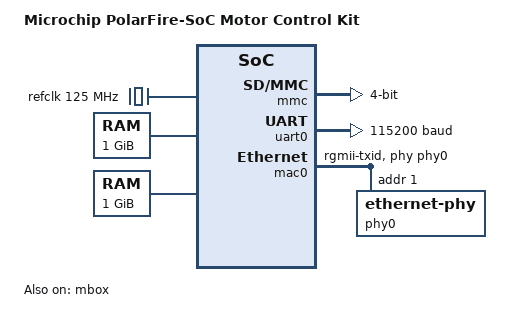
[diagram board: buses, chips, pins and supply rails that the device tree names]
/dts-v1/;

/ {
	#address-cells = <2>;
	#size-cells = <2>;
	model = "Microchip PolarFire-SoC Motor Control Kit";
	compatible = "microchip,mpfs-motor-control-kit-base-rtlv2601",
		     "microchip,mpfs-motor-control-kit",
		     "microchip,mpfs095-som", "microchip,mpfs";

	cpus {
		#address-cells = <1>;
		#size-cells = <0>;
		timebase-frequency = <1000000>;

		cpu1: cpu@1 {
			compatible = "sifive,u54-mc", "sifive,rocket0", "riscv";
			device_type = "cpu";
			mmu-type = "riscv,sv39";
			reg = <1>;
			riscv,isa = "rv64imafdc";
			riscv,isa-base = "rv64i";
			riscv,isa-extensions = "i\0m\0a\0f\0d\0c\0zicntr\0zicsr\0zifencei\0zihpm";
			clocks = <&clkcfg 0x00>;
			status = "okay";

			cpu1_intc: interrupt-controller {
				#interrupt-cells = <0x01>;
				#address-cells = <1>;
				#size-cells = <0>;
				compatible = "riscv,cpu-intc";
				interrupt-controller;
			};
		};
	};

	refclk: mssrefclk {
		compatible = "fixed-clock";
		#clock-cells = <0>;
		clock-frequency = <125000000>;
	};

	soc {
		#address-cells = <2>;
		#size-cells = <2>;
		compatible = "simple-bus";
		ranges;

		clint@2000000 {
			compatible = "sifive,clint0";
			reg = <0x00 0x2000000 0x0 0xC000>;
			interrupts-extended = <&cpu1_intc 0x03 &cpu1_intc 0x07>;
		};

		clkcfg: clkcfg@20002000 {
			compatible = "microchip,mpfs-clkcfg";
			reg = <0x00 0x20002000 0x00 0x1000 0x00 0x3e001000 0x00 0x1000>;
			clocks = <&refclk>;
			#clock-cells = <0x01>;
			#reset-cells = <0x01>;
			phandle = <0x01>;
		};

		plic: interrupt-controller@c000000 {
			compatible = "sifive,plic-1.0.0";
			reg = <0x0 0xc000000>, <0x0 0x4000000>;
			#interrupt-cells = <1>;
			#address-cells = <2>;
			riscv,ndev = <186>;
			interrupt-controller;
			interrupts-extended = <&cpu1_intc 11 &cpu1_intc 9>;
		};

		mmc: mmc@20008000 {
			compatible = "microchip,mpfs-sd4hc","cdns,sd4hc";
			reg = <0x0 0x20008000 0x0 0x1000>;
			interrupt-parent = <&plic>;
			interrupts = <0x58>;
			clocks = <&clkcfg 0x06>;
			bus-width = <0x04>;
			disable-wp;
			cap-sd-highspeed;
			cap-mmc-highspeed;
			mmc-ddr-1_8v;
			mmc-hs200-1_8v;
			sd-uhs-sdr12;
			sd-uhs-sdr25;
			sd-uhs-sdr50;
			sd-uhs-sdr104;
		};

		uart0: serial@20000000 {
			compatible = "ns16550a";
			reg = <0x0 0x20000000 0x0 0x400>;
			reg-io-width = <4>;
			reg-shift = <2>;
			interrupt-parent = <&plic>;
			interrupts = <90>;
			current-speed = <115200>;
			clocks = <&clkcfg 0x8>;
			status = "okay";
		};

		mac0: ethernet@20110000 {
			compatible = "microchip,mpfs-macb", "cdns,macb";
			reg = <0x0 0x20110000 0x0 0x2000>;
			#address-cells = <1>;
			#size-cells = <0>;
			interrupt-parent = <&plic>;
			interrupts = <64>, <65>, <66>, <67>, <68>, <69>;
			local-mac-address = [00 00 00 00 00 00];
			clocks = <&clkcfg 0x4>, <&clkcfg 0x2>;
			clock-names = "pclk", "hclk";
			resets = <&clkcfg 0x4>;
			status = "okay";
			phy-mode = "rgmii-txid";
			phy-handle = <&phy0>;
			phy0: ethernet-phy@1 {
				reg = <1>;
			};
		};

		mbox: mailbox@37020000 {
			compatible = "microchip,mpfs-mailbox";
			reg = <0x00 0x37020000 0x00 0x58>, <0x00 0x2000318c 0x00 0x40>, <0x00 0x37020800 0x00 0x100>;
			interrupt-parent = <&plic>;
			interrupts = <0x60>;
			#mbox-cells = <1>;
			status = "okay";
		};

		syscontroller: syscontroller {
			compatible = "microchip,mpfs-sys-controller", "simple-bus";
			#address-cells = <1>;
			#size-cells = <1>;
			mboxes = <&mbox 0>;
			status = "okay";
		};
	};

	aliases {
		ethernet0 = "/soc/ethernet@20110000";
		serial0 = "/soc/serial@20000000";
	};

	chosen {
		stdout-path = "serial0:115200n8";
	};

	memory@80000000 {
		device_type = "memory";
		reg = <0x0 0x80000000>, <0x0 0x40000000>;
		status = "okay";
	};

	memory@1040000000 {
		device_type = "memory";
		reg = <0x10 0x40000000>, <0x00 0x40000000>;
		status = "okay";
	};

	reserved-memory {
		#address-cells = <2>;
		#size-cells = <2>;
		ranges;

		region@BFC00000 {
			reg = <0x00 0xbfc00000 0x00 0x400000>;
			no-map;
		};
	};
};
